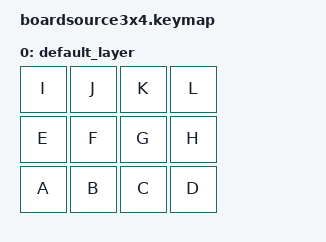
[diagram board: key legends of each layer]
/*
 * Copyright (c) 2020 The ZMK Contributors
 *
 * SPDX-License-Identifier: MIT
 */

#include <behaviors.dtsi>
#include <dt-bindings/zmk/keys.h>

/ {
    keymap {
        compatible = "zmk,keymap";

        default_layer {
            bindings = <
&kp I  &kp J  &kp K  &kp L
&kp E  &kp F  &kp G  &kp H
&kp A  &kp B  &kp C  &kp D
            >;
        };
    };
};
